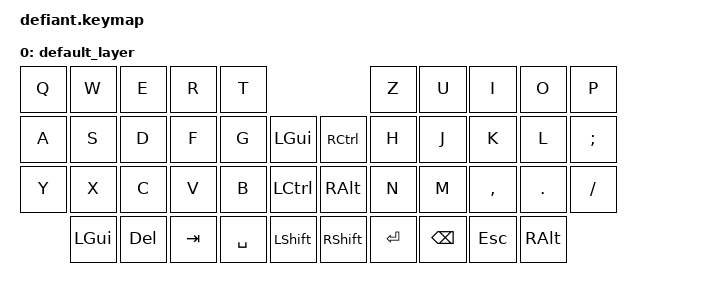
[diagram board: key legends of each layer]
#include <behaviors.dtsi>
#include <dt-bindings/zmk/keys.h>
#include <dt-bindings/zmk/outputs.h>

/ {

keymap {
    compatible = "zmk,keymap";

    default_layer {
        bindings = <
         &kp Q    &kp W     &kp E     &kp R     &kp T                             &kp Z     &kp U     &kp I     &kp O     &kp P    
         &kp A    &kp S     &kp D     &kp F     &kp G      &kp LGUI    &kp RCTRL  &kp H     &kp J     &kp K     &kp L     &kp SEMI 
         &kp Y    &kp X     &kp C     &kp V     &kp B 	   &kp LCTRL   &kp RALT   &kp N     &kp M     &kp COMMA &kp DOT   &kp FSLH
                  &kp LGUI  &kp DEL   &kp TAB   &kp SPACE  &kp LSHIFT  &kp RSHIFT &kp RET   &kp BSPC  &kp ESC   &kp RALT
        >;
    };
};

};
